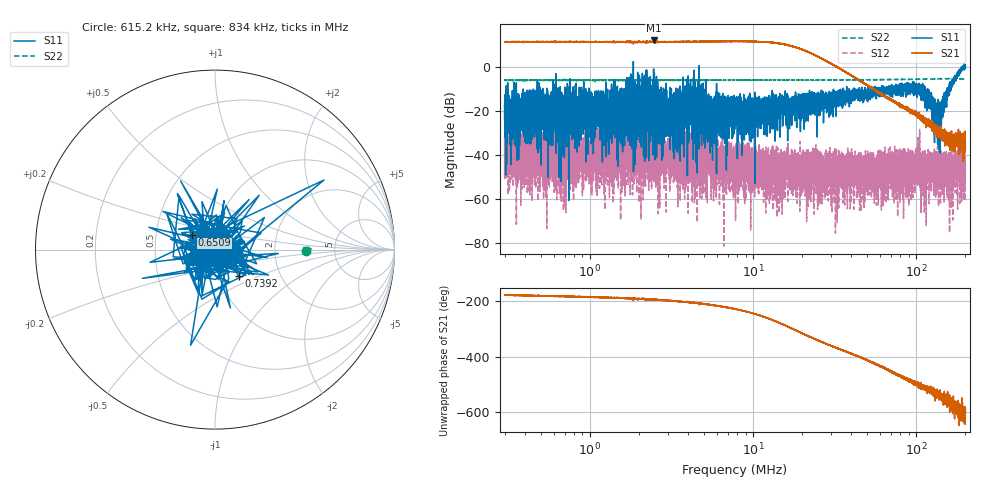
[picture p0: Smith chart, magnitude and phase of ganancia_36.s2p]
# Hz S DB R 50
! CMT, M5065, 19127446, 24.2.4/2
! Date: 11/1/2024 4:36:11 PM
! Data: Format (Calibration Info)
! Freq	S11:dB/Ang(F2)	S21:dB/Ang(F2)	S12:dB/Ang(F2)	S22:dB/Ang(F2)
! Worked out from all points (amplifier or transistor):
!   9000 points, 300 kHz to 200 MHz, reference 50 ohm
!   highest |S21| = 12.3 dB at 2.456 MHz (marker M1)
!   |S21| within 3 dB of that: start of sweep to 17.97 MHz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
!   unconditionally stable (mu >= 1): start of sweep to 1.744 MHz; 2.457 MHz to 4.352 MHz; 4.7 MHz to 190.7 MHz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
!   at 886.8 kHz: K = 5.33, MAG = 12.9 dB, |S12| = -34.8 dB
!   at 7.749 MHz: K = 9.01, MAG = 13.3 dB, |S12| = -39.7 dB
!   at 200 MHz: K = 355.55, MAG = -22.9 dB, |S12| = -45.2 dB
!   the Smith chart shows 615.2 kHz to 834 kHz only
!   S11 on the Smith chart (normalised r, x): 615.2 kHz: 0.91, -0.09; 650.9 kHz: 0.76, +0.12; 739.2 kHz: 1.24, -0.38; 834 kHz: 0.73, -0.07
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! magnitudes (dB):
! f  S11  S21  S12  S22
! 300 kHz  -16.5  11.6  -31.6  -5.7
! 324.8 kHz  -19.7  11.6  -42.0  -5.9
! 615.2 kHz  -24.0  11.6  -40.6  -5.9
! 650.9 kHz  -16.4  11.7  -46.0  -5.8
! 739.2 kHz  -14.1  11.5  -46.6  -5.8
! 834 kHz  -15.7  11.8  -52.9  -5.9
! 886.8 kHz  -20.9  11.6  -34.8  -6.0
! 2.456 MHz  -0.7  12.3  -31.8  -5.7
! 2.621 MHz  -15.8  11.7  -66.8  -5.9
! 4.824 MHz  -13.8  11.7  -39.5  -5.8
! 5.634 MHz  -22.8  11.8  -37.1  -5.9
! 7.749 MHz  -17.4  11.9  -39.7  -5.9
! 9.964 MHz  -14.0  11.8  -40.9  -5.8
! 11.22 MHz  -14.9  11.7  -48.3  -5.8
! 11.98 MHz  -19.5  11.6  -44.3  -5.8
! 13.03 MHz  -16.2  11.4  -39.6  -5.8
! 22.91 MHz  -12.8  6.4  -43.9  -5.9
! 67.71 MHz  -9.4  -14.1  -52.5  -5.6
! 106.2 MHz  -11.7  -22.7  -39.0  -5.4
! 137.9 MHz  -16.8  -28.8  -45.7  -5.2
! 159.7 MHz  -9.4  -30.3  -40.8  -5.2
! 200 MHz  -0.5  -33.9  -45.2  -5.3
